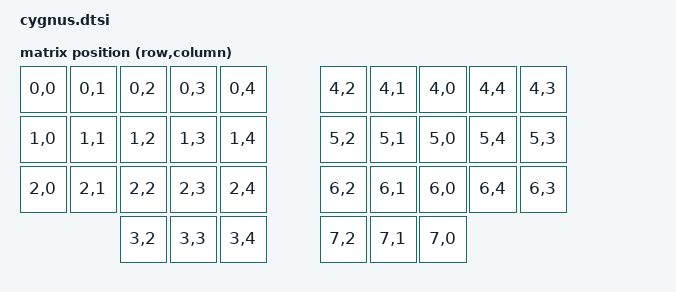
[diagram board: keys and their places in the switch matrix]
#include "cygnus-layouts.dtsi"
#include <dt-bindings/zmk/matrix_transform.h>

/ {
    matrix_transform0: matrix_transform0 {
        compatible = "zmk,matrix-transform";
        columns = <5>;
        rows = <8>;
        map = <
            RC(0,0) RC(0,1) RC(0,2) RC(0,3) RC(0,4) RC(4,2) RC(4,1) RC(4,0) RC(4,4) RC(4,3)
            RC(1,0) RC(1,1) RC(1,2) RC(1,3) RC(1,4) RC(5,2) RC(5,1) RC(5,0) RC(5,4) RC(5,3)
            RC(2,0) RC(2,1) RC(2,2) RC(2,3) RC(2,4) RC(6,2) RC(6,1) RC(6,0) RC(6,4) RC(6,3)
            RC(3,2) RC(3,3) RC(3,4) RC(7,2) RC(7,1) RC(7,0)
        >;
    };
};

&physical_layout_cygnus {
    transform = <&matrix_transform0>;
};

